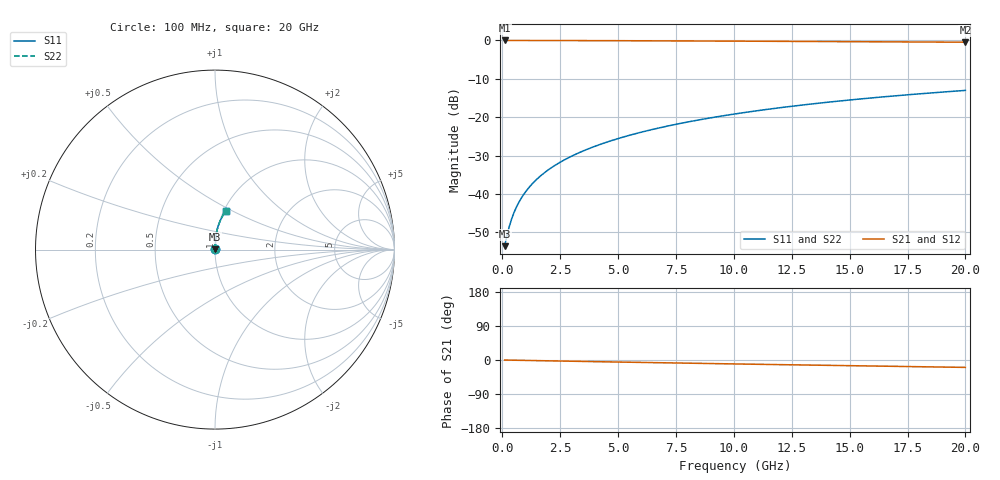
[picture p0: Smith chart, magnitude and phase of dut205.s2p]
! Touchstone file exported from HFSS 2024.1.0
!  File:  C:/UserFiles/LocalFiles/RDL_TSV_Batchsim/temp_RDL_bottom_205_1778699727.aedt
!  Generated:  03:18:25 AM May 14, 2026
!  Design:  RDL_bottom
!  Project:  temp_RDL_bottom_205_1778699727
!  Setup:  Setup1
!  Solution:  Sweep
! Variables:
!  dtsv = 10.80580581um
!  hbump = 3um
!  htsv = 95.86um
!  ldown = 227.93um
!  lrdl = 100um
!  p = 40
!  p1 = 50.13um
!  rhole = 1um
!  t = 450um
!  tdown = 2.68um
!  trdl = 3.915915916um
!  wdown = 20.2um
!  wrdl = 20um
# GHz S MA R 50.000000
! Terminal data exported
! Port[1] = RDL1_T1
! Port[2] = RDL1_T2
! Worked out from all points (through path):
!   200 points, 100 MHz to 20 GHz, reference 50 ohm
!   highest |S21| = -0.02 dB at 100 MHz (marker M1); lowest = -0.5 dB at 20 GHz (marker M2)
!   group delay of S21, straight-line fit = 2.69 ps
!   lowest |S11| = -53.6 dB at 100 MHz (marker M3), VSWR 1.00, Z = 50.2 + j0.111 ohm
!   |S11| at or under -10 dB: start of sweep to end of sweep
!   |S22| runs from -53.6 to -13.0 dB; largest |S21 - S12| = 4.1e-15
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0.1  0.002092 31.9  0.9982 -0.1  0.9982 -0.1  0.002092 31.9
! Gamma 0 0 0 0
! Port Impedance 50 0 50 0
0.2  0.002848 50.3  0.9982 -0.2  0.9982 -0.2  0.002848 50.3
0.3  0.003753 60.0  0.9981 -0.3  0.9981 -0.3  0.003753 60.0
0.4  0.004705 65.8  0.998 -0.5  0.998 -0.5  0.004705 65.8
0.5  0.005673 69.6  0.9979 -0.6  0.9979 -0.6  0.005673 69.6
0.6  0.00665 72.4  0.9979 -0.7  0.9979 -0.7  0.00665 72.4
0.8  0.008622 76.1  0.9977 -0.9  0.9977 -0.9  0.008622 76.1
1.1  0.01161 79.5  0.9975 -1.2  0.9975 -1.2  0.01161 79.5
1.3  0.01363 80.9  0.9973 -1.4  0.9973 -1.4  0.01363 80.9
1.6  0.01667 82.5  0.9971 -1.8  0.9971 -1.8  0.01667 82.5
2.1  0.02179 84.1  0.9965 -2.3  0.9965 -2.3  0.02179 84.1
2.7  0.02801 85.3  0.9957 -3.0  0.9957 -3.0  0.02801 85.3
3.5  0.03644 86.1  0.9944 -3.8  0.9944 -3.8  0.03644 86.1
4.2  0.04395 86.4  0.9931 -4.6  0.9931 -4.6  0.04395 86.4
5  0.05268 86.6  0.9913 -5.4  0.9913 -5.4  0.05268 86.6
5.9  0.06267 86.4  0.9892 -6.3  0.9892 -6.3  0.06267 86.4
6.8  0.07282 86.1  0.9869 -7.2  0.9869 -7.2  0.07282 86.1
8.4  0.09116 85.2  0.9826 -8.8  0.9826 -8.8  0.09116 85.2
10.1  0.1109 83.9  0.9778 -10.5  0.9778 -10.5  0.1109 83.9
13.4  0.1492 80.9  0.968 -13.6  0.968 -13.6  0.1492 80.9
16.7  0.1868 77.7  0.9579 -16.6  0.9579 -16.6  0.1868 77.7
20  0.2232 74.5  0.9473 -19.5  0.9473 -19.5  0.2232 74.5
